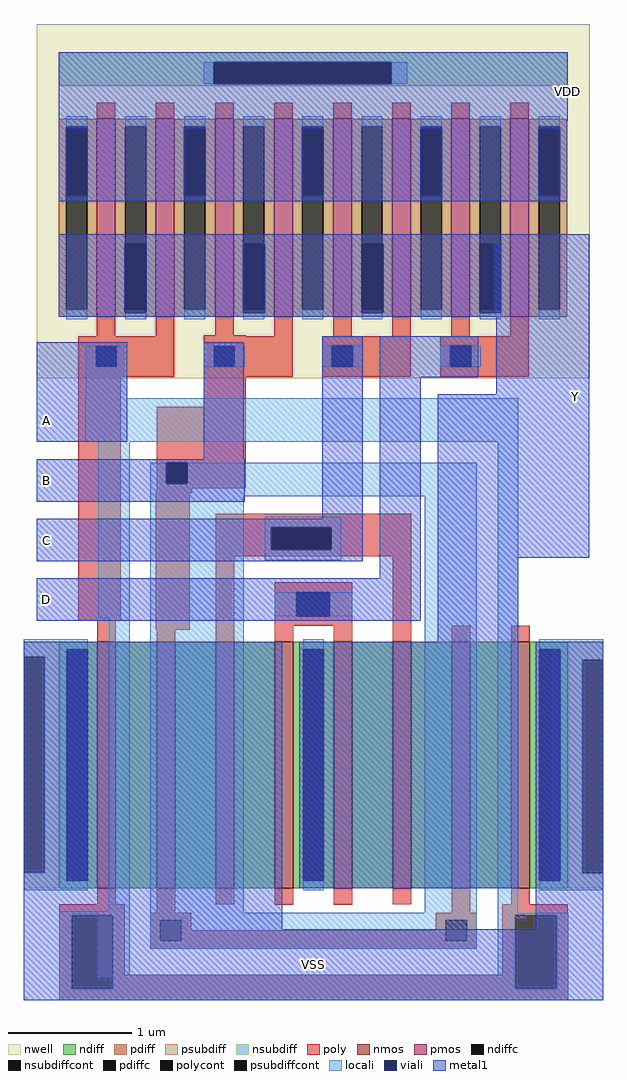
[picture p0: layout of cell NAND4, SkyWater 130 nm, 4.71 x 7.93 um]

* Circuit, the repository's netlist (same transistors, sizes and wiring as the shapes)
* NGSPICE file created from NAND4.ext - technology: sky130B

.subckt nmos4_fingered D C B A a_n33_n200# VSS VSUBS
X0 a_n33_n200# A a_n129_n200# VSUBS sky130_fd_pr__nfet_01v8 ad=0.33 pd=2.33 as=0.33 ps=2.33 w=2 l=0.15
X1 VSS D a_255_n200# VSUBS sky130_fd_pr__nfet_01v8 ad=0.62 pd=4.62 as=0.33 ps=2.33 w=2 l=0.15
X2 a_255_n200# C a_159_n200# VSUBS sky130_fd_pr__nfet_01v8 ad=0.33 pd=2.33 as=0.33 ps=2.33 w=2 l=0.15
X3 a_n321_n200# D VSS VSUBS sky130_fd_pr__nfet_01v8 ad=0.33 pd=2.33 as=0.62 ps=4.62 w=2 l=0.15
X4 a_159_n200# B a_63_n200# VSUBS sky130_fd_pr__nfet_01v8 ad=0.33 pd=2.33 as=0.33 ps=2.33 w=2 l=0.15
X5 a_n225_n200# C a_n321_n200# VSUBS sky130_fd_pr__nfet_01v8 ad=0.33 pd=2.33 as=0.33 ps=2.33 w=2 l=0.15
X6 a_63_n200# A a_n33_n200# VSUBS sky130_fd_pr__nfet_01v8 ad=0.33 pd=2.33 as=0.33 ps=2.33 w=2 l=0.15
X7 a_n129_n200# B a_n225_n200# VSUBS sky130_fd_pr__nfet_01v8 ad=0.33 pd=2.33 as=0.33 ps=2.33 w=2 l=0.15
.ends

.subckt pmos4_f2 a_n177_n258# a_n413_n161# a_207_n258# w_n449_n261# a_n369_n258# a_n321_n161#
+ a_15_n258#
X0 a_n321_n161# a_207_n258# a_n413_n161# w_n449_n261# sky130_fd_pr__pfet_01v8 ad=0.26565 pd=1.94 as=0.26565 ps=1.94 w=1.61 l=0.15
X1 a_n321_n161# a_n369_n258# a_n413_n161# w_n449_n261# sky130_fd_pr__pfet_01v8 ad=0.26565 pd=1.94 as=0.4991 ps=3.84 w=1.61 l=0.15
X2 a_n413_n161# a_15_n258# a_n321_n161# w_n449_n261# sky130_fd_pr__pfet_01v8 ad=0.26565 pd=1.94 as=0.26565 ps=1.94 w=1.61 l=0.15
X3 a_n413_n161# a_n369_n258# a_n321_n161# w_n449_n261# sky130_fd_pr__pfet_01v8 ad=0.26565 pd=1.94 as=0.26565 ps=1.94 w=1.61 l=0.15
X4 a_n321_n161# a_15_n258# a_n413_n161# w_n449_n261# sky130_fd_pr__pfet_01v8 ad=0.26565 pd=1.94 as=0.26565 ps=1.94 w=1.61 l=0.15
X5 a_n321_n161# a_n177_n258# a_n413_n161# w_n449_n261# sky130_fd_pr__pfet_01v8 ad=0.26565 pd=1.94 as=0.26565 ps=1.94 w=1.61 l=0.15
X6 a_n413_n161# a_n177_n258# a_n321_n161# w_n449_n261# sky130_fd_pr__pfet_01v8 ad=0.26565 pd=1.94 as=0.26565 ps=1.94 w=1.61 l=0.15
X7 a_n413_n161# a_207_n258# a_n321_n161# w_n449_n261# sky130_fd_pr__pfet_01v8 ad=0.4991 pd=3.84 as=0.26565 ps=1.94 w=1.61 l=0.15
.ends

.subckt NAND4 A B C D VSS VDD Y
Xsky130_fd_pr__nfet_01v8_V69YKH_0 A B C D Y VSS VSS nmos4_fingered
Xsky130_fd_pr__pfet_01v8_NFZE9G_0 B VDD D VDD A Y C pmos4_f2
.ends

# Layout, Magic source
magic
tech sky130B
magscale 1 2
<< nwell >>
rect -37 1396 862 1492
rect -1 1335 826 1396
rect 861 988 862 1396
rect 765 916 862 988
<< psubdiff >>
rect -58 464 0 488
rect -24 113 0 464
rect -58 88 0 113
rect 826 459 884 488
rect 826 112 850 459
rect 826 88 884 112
<< nsubdiff >>
rect -1 1430 826 1446
rect -1 1395 251 1430
rect 539 1409 826 1430
rect 539 1395 825 1409
rect -1 1392 825 1395
<< psubdiffcont >>
rect -58 113 -24 464
rect 850 112 884 459
<< nsubdiffcont >>
rect 251 1395 539 1430
<< poly >>
rect 31 522 100 985
rect 235 870 303 986
rect 158 779 303 870
rect 158 745 174 779
rect 208 745 303 779
rect 158 738 303 745
rect 158 732 216 738
rect 157 730 216 732
rect 157 508 212 730
<< polycont >>
rect 174 745 208 779
rect 344 638 442 674
<< locali >>
rect 235 1395 251 1430
rect 539 1395 565 1430
rect 235 969 300 974
rect 43 884 110 969
rect 235 935 301 969
rect 42 813 746 884
rect 63 526 114 813
rect -58 464 46 492
rect -24 113 46 464
rect -58 84 46 113
rect 80 50 114 526
rect 63 -53 114 50
rect 148 745 174 779
rect 208 745 678 779
rect 148 725 678 745
rect 148 -11 300 725
rect 334 674 458 691
rect 334 638 344 674
rect 442 638 458 674
rect 334 621 458 638
rect 594 -11 678 725
rect 712 48 746 813
rect 780 488 884 492
rect 802 459 884 488
rect 802 112 850 459
rect 802 84 884 112
rect 712 39 758 48
rect 63 -57 123 -53
rect 712 -60 725 39
<< viali >>
rect 251 1395 539 1430
rect 174 745 208 779
rect 344 638 442 674
<< metal1 >>
rect -1 1430 826 1446
rect -1 1395 251 1430
rect 539 1395 826 1430
rect -1 1335 826 1395
rect 705 1016 861 1150
rect -37 813 110 975
rect 235 974 298 975
rect 235 785 300 974
rect -37 779 301 785
rect -37 745 174 779
rect 208 745 301 779
rect -37 716 301 745
rect 427 688 493 985
rect -37 674 493 688
rect -37 638 344 674
rect 442 638 493 674
rect -37 619 493 638
rect 521 918 681 985
rect 521 591 587 918
rect 710 890 861 1016
rect -37 522 587 591
rect 615 625 861 890
rect 615 488 746 625
rect -58 21 362 488
rect 390 88 746 488
rect 774 21 884 488
rect -58 -94 884 21
use nmos4_fingered  sky130_fd_pr__nfet_01v8_V69YKH_0
transform 1 0 413 0 1 288
box -413 -382 414 408
use pmos4_f2  sky130_fd_pr__pfet_01v8_NFZE9G_0
transform 1 0 412 0 1 1177
box -449 -261 449 223
<< labels >>
rlabel metal1 -37 813 -4 882 7 A
port 1 w
rlabel metal1 -37 716 -5 785 7 B
port 2 w
rlabel metal1 -37 619 -4 688 7 C
port 3 w
rlabel metal1 -37 522 -5 591 7 D
port 4 w
rlabel metal1 825 1366 826 1400 5 VDD
port 6 n
rlabel metal1 815 625 861 1150 5 Y
port 7 e
rlabel metal1 0 -94 827 21 5 VSS
port 5 s
<< end >>

# cell nmos4_fingered: kit device sky130_fd_pr__nfet_01v8, w 2 l 0.150 m 1 nf 8 diffcov 100 polycov 100 guard 0 glc 1 grc 1 gtc 1 gbc 1 tbcov 100 rlcov 100 topc 0 botc 0 poverlap 0 doverlap 1 lmin 0.15 wmin 0.42 compatible {sky130_fd_pr__nfet_01v8 sky130_fd_pr__nfet_01v8_lvt sky130_fd_bs_flash__special_sonosfet_star sky130_fd_pr__nfet_g5v0d10v5 sky130_fd_pr__nfet_05v0_nvt sky130_fd_pr__nfet_03v3_nvt} full_metal 1 viasrc 100 viadrn 100 viagate 100 viagb 0 viagr 0 viagl 0 viagt 0

# cell pmos4_f2: kit device sky130_fd_pr__pfet_01v8, w 1.605 l 0.15 m 1 nf 8 diffcov 100 polycov 100 guard 0 glc 1 grc 1 gtc 1 gbc 1 tbcov 100 rlcov 100 topc 1 botc 1 poverlap 0 doverlap 1 lmin 0.15 wmin 0.42 compatible {sky130_fd_pr__pfet_01v8 sky130_fd_pr__pfet_01v8_lvt sky130_fd_pr__pfet_01v8_hvt sky130_fd_pr__pfet_g5v0d10v5} full_metal 1 viasrc 100 viadrn 100 viagate 100 viagb 0 viagr 0 viagl 0 viagt 0
